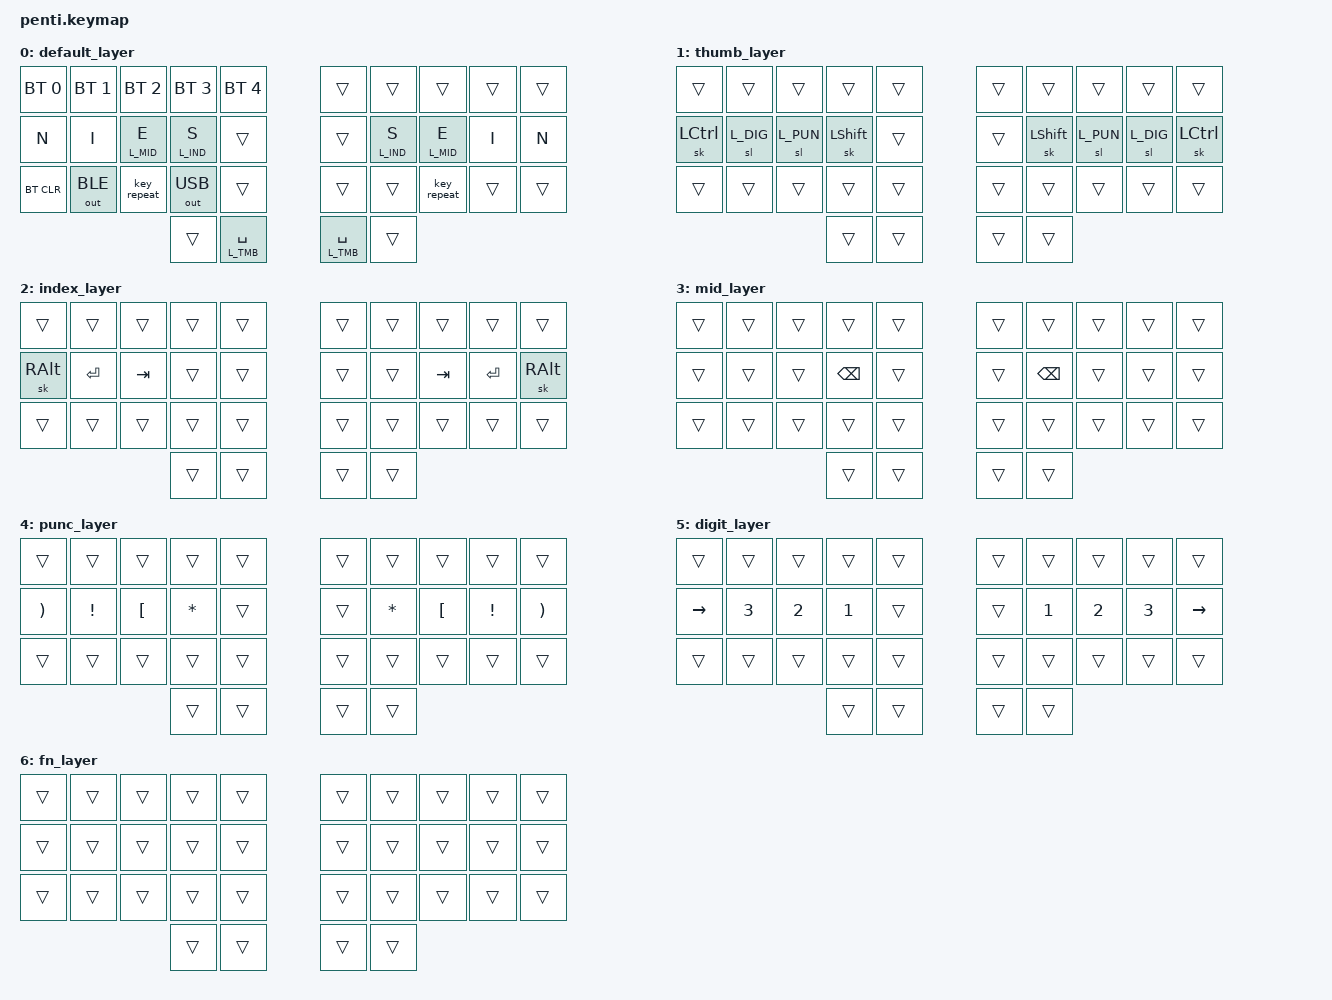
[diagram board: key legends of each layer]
/*
 * Copyright (c) 2020 The ZMK Contributors
 *
 * SPDX-License-Identifier: MIT
 */

#include <behaviors.dtsi>
#include <dt-bindings/zmk/bt.h>
#include <dt-bindings/zmk/keys.h>
#include <dt-bindings/zmk/outputs.h>

#define VAR_TOUT 40

// GENERAL KEYS
#define GEN_NONE &none
#define GEN_TRAN &trans
#define GEN_BSPC &kp BSPC

// DEFAULT LAYER

#define L_DEF 0

#define DEF_S &lt L_IND S
#define DEF_E &lt L_MID E
#define DEF_I &kp I 
#define DEF_N &kp N

#define DEF_SPC  &lt L_TMB SPC
#define DEF_REP  &key_repeat

// THUMB LAYER
#define L_TMB 1
#define TMB_PUN &sl L_PUN
#define TMB_DIG &sl L_DIG
#define DEF_SHFT &sk LSHIFT
#define DEF_LCTL &sk LCTL

// INDEX LAYER
#define L_IND 2

#define DEF_RALT &sk RALT

#define NAV_BSLH &kp BSLH
#define NAV_HOME &kp HOME
#define NAV_UP &kp UP
#define NAV_END &kp END
#define NAV_PGUP &kp PG_UP

#define NAV_ESC &kp ESC
#define NAV_LEFT &kp LEFT
#define NAV_DOWN &kp DOWN
#define NAV_RGHT &kp RIGHT
#define NAV_TAB &kp TAB

#define NAV_GRV &kp GRAVE
#define NAV_DEL &kp DEL
#define NAV_RET &kp RET
#define NAV_PGDN &kp PG_DN

// MID LAYER
#define L_MID 3

#define NAV_BSPC &kp BSPC

// PUNC LAYER
#define L_PUN 4

#define SYM_LBKT &kp LBKT
#define SYM_RBKT &kp RBKT

#define SYM_GRV &kp GRAVE
#define SYM_UNDR &kp UNDER
#define SYM_LPAR &kp LPAR
#define SYM_RPAR &kp RPAR

#define SYM_TLDE &kp TILDE
#define SYM_LBRC &kp LBRC
#define SYM_RBRC &kp RBRC


#define SYM_PER &kp PERCENT
#define SYM_AT &kp AT

#define SYM_AND &kp AMPERSAND
#define SYM_QUES &kp QUESTION
#define SYM_EXCL &kp EXCLAMATION
#define SYM_PIPE &kp PIPE

#define SYM_CAR &kp CARET
#define SYM_DOL &kp DOLLAR
#define SYM_HASH &kp HASH
#define SYM_STAR &kp STAR


// DIGIT LAYER
#define L_DIG 5

#define NUM_LBKT &kp LBKT
#define NUM_N7 &kp N7 
#define NUM_N8 &kp N8
#define NUM_N9 &kp N9
#define NUM_RBKT &kp RBKT 

#define NUM_EQUL &kp EQUAL
#define NUM_N4 &kp N4
#define NUM_N5 &kp N5
#define NUM_N6 &kp N6
#define NUM_N0 &kp N0

#define NUM_MIN &kp MINUS
#define NUM_N1 &kp N1
#define NUM_N2 &kp N2
#define NUM_N3 &kp N3
#define NUM_FSLH &kp FSLH

// FN LAYER
#define L_FN 6

// POSITIONS

#define LFT_LTL 10
#define LFT_RIN 11
#define LFT_MID 12
#define LFT_IND 13
#define LFT_TMB 31

#define RGT_TMB 32
#define RGT_IND 16
#define RGT_MID 17
#define RGT_RIN 18
#define RGT_LTL 19

&mt {
  flavor = "tap-preferred";
  tapping_term_ms = <200>;
};

&lt {
  flavor = "tap-preferred";
  tapping_term_ms = <200>;
};
&sl {
    release-after-ms = <1000>;
};
&sk {
    release-after-ms = <1000>;
    quick-release;
};
/ {
  combos {
    compatible = "zmk,combos";
    bootloader {
      timeout-ms = <VAR_TOUT>;
      key-positions = <0 20>;
      bindings = <&bootloader>;
    };
    ble {
      timeout-ms = <VAR_TOUT>;
      key-positions = <1 21>;
      bindings = <&out OUT_BLE>;
    };
    btclr {
      timeout-ms = <VAR_TOUT>;
      key-positions = <2 22>;
      bindings = <&bt BT_CLR>;
    };
    usb {
      timeout-ms = <VAR_TOUT>;
      key-positions = <3 23>;
      bindings = <&out OUT_USB>;
    };
    left_a {
      timeout-ms = <VAR_TOUT>;
      key-positions = <LFT_TMB LFT_RIN>;
      bindings = <&kp A>;
      layers = <L_DEF>;
    };

    left_b {
      timeout-ms = <VAR_TOUT>;
      key-positions = <LFT_TMB LFT_MID LFT_RIN>;
      bindings = <&kp B>;
      layers = <L_DEF>;
    };

    left_c {
      timeout-ms = <VAR_TOUT>;
      key-positions = <LFT_IND LFT_RIN>;
      bindings = <&kp C>;
      layers = <L_DEF>;
    };

    left_d {
      timeout-ms = <VAR_TOUT>;
      key-positions = <LFT_TMB LFT_LTL>;
      bindings = <&kp D>;
      layers = <L_DEF>;
    };

    left_f {
      timeout-ms = <VAR_TOUT>;
      key-positions = <LFT_TMB LFT_IND>;
      bindings = <&kp F>;
      layers = <L_DEF>;
    };

    left_g {
      timeout-ms = <VAR_TOUT>;
      key-positions = <LFT_RIN LFT_LTL>;
      bindings = <&kp G>;
      layers = <L_DEF>;
    };

    left_h {
      timeout-ms = <VAR_TOUT>;
      key-positions = <LFT_TMB LFT_IND LFT_LTL>;
      bindings = <&kp H>;
      layers = <L_DEF>;
    };

    left_j {
      timeout-ms = <VAR_TOUT>;
      key-positions = <LFT_IND LFT_LTL>;
      bindings = <&kp J>;
      layers = <L_DEF>;
    };

    left_k {
      timeout-ms = <VAR_TOUT>;
      key-positions = <LFT_IND LFT_MID LFT_RIN LFT_LTL>;
      bindings = <&kp K>;
      layers = <L_DEF>;
    };

    left_l {
      timeout-ms = <VAR_TOUT>;
      key-positions = <LFT_IND LFT_MID>;
      bindings = <&kp L>;
      layers = <L_DEF>;
    };

    left_m {
      timeout-ms = <VAR_TOUT>;
      key-positions = <LFT_MID LFT_RIN LFT_LTL>;
      bindings = <&kp M>;
      layers = <L_DEF>;
    };

    left_o {
      timeout-ms = <VAR_TOUT>;
      key-positions = <LFT_MID LFT_RIN>;
      bindings = <&kp O>;
      layers = <L_DEF>;
    };

    left_p {
      timeout-ms = <VAR_TOUT>;
      key-positions = <LFT_TMB LFT_IND LFT_MID LFT_RIN>;
      bindings = <&kp P>;
      layers = <L_DEF>;
    };

    left_q {
      timeout-ms = <VAR_TOUT>;
      key-positions = <LFT_TMB LFT_IND LFT_RIN>;
      bindings = <&kp Q>;
      layers = <L_DEF>;
    };

    left_r {
      timeout-ms = <VAR_TOUT>;
      key-positions = <LFT_TMB LFT_MID>;
      bindings = <&kp R>;
      layers = <L_DEF>;
    };

    left_t {
      timeout-ms = <VAR_TOUT>;
      key-positions = <LFT_TMB LFT_MID LFT_RIN LFT_LTL>;
      bindings = <&kp T>;
      layers = <L_DEF>;
    };

    left_u {
      timeout-ms = <VAR_TOUT>;
      key-positions = <LFT_IND LFT_MID LFT_RIN>;
      bindings = <&kp U>;
      layers = <L_DEF>;
    };

    left_v {
      timeout-ms = <VAR_TOUT>;
      key-positions = <LFT_IND LFT_RIN LFT_LTL>;
      bindings = <&kp V>;
      layers = <L_DEF>;
    };

    left_w {
      timeout-ms = <VAR_TOUT>;
      key-positions = <LFT_TMB LFT_IND LFT_MID LFT_RIN LFT_LTL>;
      bindings = <&kp W>;
      layers = <L_DEF>;
    };

    left_x {
      timeout-ms = <VAR_TOUT>;
      key-positions = <LFT_TMB LFT_IND LFT_RIN LFT_LTL>;
      bindings = <&kp X>;
      layers = <L_DEF>;
    };

    left_y {
      timeout-ms = <VAR_TOUT>;
      key-positions = <LFT_TMB LFT_RIN LFT_LTL>;
      bindings = <&kp Y>;
      layers = <L_DEF>;
    };

    left_z {
      timeout-ms = <VAR_TOUT>;
      key-positions = <LFT_TMB LFT_IND LFT_MID>;
      bindings = <&kp Z>;
      layers = <L_DEF>;
    };

    right_a {
      timeout-ms = <VAR_TOUT>;
      key-positions = <RGT_TMB RGT_RIN>;
      bindings = <&kp A>;
      layers = <L_DEF>;
    };

    right_b {
      timeout-ms = <VAR_TOUT>;
      key-positions = <RGT_TMB RGT_MID RGT_RIN>;
      bindings = <&kp B>;
      layers = <L_DEF>;
    };

    right_c {
      timeout-ms = <VAR_TOUT>;
      key-positions = <RGT_IND RGT_RIN>;
      bindings = <&kp C>;
      layers = <L_DEF>;
    };

    right_d {
      timeout-ms = <VAR_TOUT>;
      key-positions = <RGT_TMB RGT_LTL>;
      bindings = <&kp D>;
      layers = <L_DEF>;
    };

    right_f {
      timeout-ms = <VAR_TOUT>;
      key-positions = <RGT_TMB RGT_IND>;
      bindings = <&kp F>;
      layers = <L_DEF>;
    };

    right_g {
      timeout-ms = <VAR_TOUT>;
      key-positions = <RGT_RIN RGT_LTL>;
      bindings = <&kp G>;
      layers = <L_DEF>;
    };

    right_h {
      timeout-ms = <VAR_TOUT>;
      key-positions = <RGT_TMB RGT_IND RGT_LTL>;
      bindings = <&kp H>;
      layers = <L_DEF>;
    };

    right_j {
      timeout-ms = <VAR_TOUT>;
      key-positions = <RGT_IND RGT_LTL>;
      bindings = <&kp J>;
      layers = <L_DEF>;
    };

    right_k {
      timeout-ms = <VAR_TOUT>;
      key-positions = <RGT_IND RGT_MID RGT_RIN RGT_LTL>;
      bindings = <&kp K>;
      layers = <L_DEF>;
    };

    right_l {
      timeout-ms = <VAR_TOUT>;
      key-positions = <RGT_IND RGT_MID>;
      bindings = <&kp L>;
      layers = <L_DEF>;
    };

    right_m {
      timeout-ms = <VAR_TOUT>;
      key-positions = <RGT_MID RGT_RIN RGT_LTL>;
      bindings = <&kp M>;
      layers = <L_DEF>;
    };

    right_o {
      timeout-ms = <VAR_TOUT>;
      key-positions = <RGT_MID RGT_RIN>;
      bindings = <&kp O>;
      layers = <L_DEF>;
    };

    right_p {
      timeout-ms = <VAR_TOUT>;
      key-positions = <RGT_TMB RGT_IND RGT_MID RGT_RIN>;
      bindings = <&kp P>;
      layers = <L_DEF>;
    };

    right_q {
      timeout-ms = <VAR_TOUT>;
      key-positions = <RGT_TMB RGT_IND RGT_RIN>;
      bindings = <&kp Q>;
      layers = <L_DEF>;
    };

    right_r {
      timeout-ms = <VAR_TOUT>;
      key-positions = <RGT_TMB RGT_MID>;
      bindings = <&kp R>;
      layers = <L_DEF>;
    };

    right_t {
      timeout-ms = <VAR_TOUT>;
      key-positions = <RGT_TMB RGT_MID RGT_RIN RGT_LTL>;
      bindings = <&kp T>;
      layers = <L_DEF>;
    };

    right_u {
      timeout-ms = <VAR_TOUT>;
      key-positions = <RGT_IND RGT_MID RGT_RIN>;
      bindings = <&kp U>;
      layers = <L_DEF>;
    };

    right_v {
      timeout-ms = <VAR_TOUT>;
      key-positions = <RGT_IND RGT_RIN RGT_LTL>;
      bindings = <&kp V>;
      layers = <L_DEF>;
    };

    right_w {
      timeout-ms = <VAR_TOUT>;
      key-positions = <RGT_TMB RGT_IND RGT_MID RGT_RIN RGT_LTL>;
      bindings = <&kp W>;
      layers = <L_DEF>;
    };

    right_x {
      timeout-ms = <VAR_TOUT>;
      key-positions = <RGT_TMB RGT_IND RGT_RIN RGT_LTL>;
      bindings = <&kp X>;
      layers = <L_DEF>;
    };

    right_y {
      timeout-ms = <VAR_TOUT>;
      key-positions = <RGT_TMB RGT_RIN RGT_LTL>;
      bindings = <&kp Y>;
      layers = <L_DEF>;
    };

    right_z {
      timeout-ms = <VAR_TOUT>;
      key-positions = <RGT_TMB RGT_IND RGT_MID>;
      bindings = <&kp Z>;
      layers = <L_DEF>;
    };
  };

  keymap {
    compatible = "zmk,keymap";

    default_layer {
      bindings = <
        &bt BT_SEL 0 &bt BT_SEL 1 &bt BT_SEL 2 &bt BT_SEL 3 &bt BT_SEL 4       GEN_TRAN GEN_TRAN GEN_TRAN GEN_TRAN GEN_TRAN
        DEF_N    DEF_I    DEF_E    DEF_S    GEN_TRAN       GEN_TRAN DEF_S    DEF_E    DEF_I    DEF_N
        &bt BT_CLR &out OUT_BLE DEF_REP  &out OUT_USB GEN_TRAN       GEN_TRAN GEN_TRAN DEF_REP  GEN_TRAN GEN_TRAN
                                   GEN_TRAN DEF_SPC        DEF_SPC GEN_TRAN
      >;
    };
    
    thumb_layer {
      bindings = <
        GEN_TRAN GEN_TRAN GEN_TRAN GEN_TRAN GEN_TRAN       GEN_TRAN GEN_TRAN GEN_TRAN GEN_TRAN GEN_TRAN
        DEF_LCTL TMB_DIG  TMB_PUN  DEF_SHFT GEN_TRAN       GEN_TRAN DEF_SHFT TMB_PUN  TMB_DIG  DEF_LCTL
        GEN_TRAN GEN_TRAN GEN_TRAN GEN_TRAN GEN_TRAN       GEN_TRAN GEN_TRAN GEN_TRAN GEN_TRAN GEN_TRAN
                                   GEN_TRAN GEN_TRAN       GEN_TRAN GEN_TRAN
      >;
    };

    index_layer {
      bindings = <
        GEN_TRAN GEN_TRAN GEN_TRAN GEN_TRAN GEN_TRAN       GEN_TRAN GEN_TRAN GEN_TRAN GEN_TRAN GEN_TRAN
        DEF_RALT NAV_RET  NAV_TAB  GEN_TRAN GEN_TRAN       GEN_TRAN GEN_TRAN NAV_TAB  NAV_RET  DEF_RALT
        GEN_TRAN GEN_TRAN GEN_TRAN GEN_TRAN GEN_TRAN       GEN_TRAN GEN_TRAN GEN_TRAN GEN_TRAN GEN_TRAN
                                   GEN_TRAN GEN_TRAN       GEN_TRAN GEN_TRAN
      >;
    };

    mid_layer {
      bindings = <
        GEN_TRAN GEN_TRAN GEN_TRAN GEN_TRAN GEN_TRAN       GEN_TRAN GEN_TRAN GEN_TRAN GEN_TRAN GEN_TRAN
        GEN_TRAN GEN_TRAN GEN_TRAN NAV_BSPC GEN_TRAN       GEN_TRAN NAV_BSPC GEN_TRAN GEN_TRAN GEN_TRAN
        GEN_TRAN GEN_TRAN GEN_TRAN GEN_TRAN GEN_TRAN       GEN_TRAN GEN_TRAN GEN_TRAN GEN_TRAN GEN_TRAN
                                   GEN_TRAN GEN_TRAN       GEN_TRAN GEN_TRAN
      >;
    };

    punc_layer {
      bindings = <
        GEN_TRAN GEN_TRAN GEN_TRAN GEN_TRAN GEN_TRAN       GEN_TRAN GEN_TRAN GEN_TRAN GEN_TRAN GEN_TRAN
        SYM_RPAR SYM_EXCL SYM_LBKT SYM_STAR GEN_TRAN       GEN_TRAN SYM_STAR SYM_LBKT SYM_EXCL SYM_RPAR
        GEN_TRAN GEN_TRAN GEN_TRAN GEN_TRAN GEN_TRAN       GEN_TRAN GEN_TRAN GEN_TRAN GEN_TRAN GEN_TRAN
                                   GEN_TRAN GEN_TRAN       GEN_TRAN GEN_TRAN
      >;
    };
    digit_layer {
      bindings = <
        GEN_TRAN GEN_TRAN GEN_TRAN GEN_TRAN GEN_TRAN       GEN_TRAN GEN_TRAN GEN_TRAN GEN_TRAN GEN_TRAN
        NAV_RGHT NUM_N3   NUM_N2   NUM_N1   GEN_TRAN       GEN_TRAN NUM_N1   NUM_N2   NUM_N3   NAV_RGHT
        GEN_TRAN GEN_TRAN GEN_TRAN GEN_TRAN GEN_TRAN       GEN_TRAN GEN_TRAN GEN_TRAN GEN_TRAN GEN_TRAN
                                   GEN_TRAN GEN_TRAN       GEN_TRAN GEN_TRAN
      >;
    };
    fn_layer {
      bindings = <
        GEN_TRAN GEN_TRAN GEN_TRAN GEN_TRAN GEN_TRAN       GEN_TRAN GEN_TRAN GEN_TRAN GEN_TRAN GEN_TRAN
        GEN_TRAN GEN_TRAN GEN_TRAN GEN_TRAN GEN_TRAN       GEN_TRAN GEN_TRAN GEN_TRAN GEN_TRAN GEN_TRAN
        GEN_TRAN GEN_TRAN GEN_TRAN GEN_TRAN GEN_TRAN       GEN_TRAN GEN_TRAN GEN_TRAN GEN_TRAN GEN_TRAN
                                   GEN_TRAN GEN_TRAN       GEN_TRAN GEN_TRAN
      >;
    };
    // empty_layer {
    //   bindings = <
    //     GEN_TRAN GEN_TRAN GEN_TRAN GEN_TRAN GEN_TRAN       GEN_TRAN GEN_TRAN GEN_TRAN GEN_TRAN GEN_TRAN
    //     GEN_TRAN GEN_TRAN GEN_TRAN GEN_TRAN GEN_TRAN       GEN_TRAN GEN_TRAN GEN_TRAN GEN_TRAN GEN_TRAN
    //     GEN_TRAN GEN_TRAN GEN_TRAN GEN_TRAN GEN_TRAN       GEN_TRAN GEN_TRAN GEN_TRAN GEN_TRAN GEN_TRAN
    //                                GEN_TRAN GEN_TRAN       GEN_TRAN GEN_TRAN
    //   >;
    // };

  };
};
